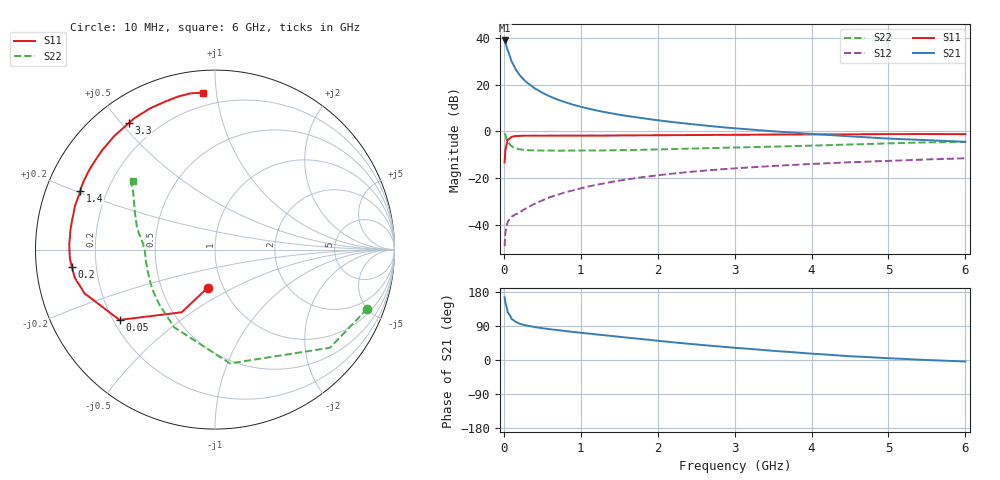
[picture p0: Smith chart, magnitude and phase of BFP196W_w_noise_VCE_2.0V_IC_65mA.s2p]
! (c) 2017  Infineon Technologies AG, Munich
! Infineon Technologies  Discrete & RF Semiconductors
! BFP196W
! VCE =  2.0 V,  IC =  65 mA
! Common Emitter S-Parameters:  Jan 2017
# GHz  S  MA  R  50
!  f  S11  S21  S12  S22
! GHz  MAG  ANG  MAG  ANG  MAG  ANG  MAG  ANG
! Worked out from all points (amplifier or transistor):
!   77 points, 10 MHz to 6 GHz, reference 50 ohm
!   highest |S21| = 39.0 dB at 10 MHz (marker M1)
!   |S21| within 3 dB of that: start of sweep to 38.81 MHz
!   unconditionally stable (mu >= 1): 537.7 MHz to 3.385 GHz
!   at 130 MHz: K = 0.52, MSG = 32.1 dB, |S12| = -35.9 dB
!   at 2.2 GHz: K = 1.04, MAG = 9.8 dB, |S12| = -18.0 dB
!   at 6 GHz: K = 0.97, MSG = 3.5 dB, |S12| = -11.5 dB
!   lowest NFmin = 1.51 dB at 450 MHz
!   S11 on the Smith chart (normalised r, x): 10 MHz: 0.84, -0.38; 50 MHz: 0.23, -0.31; 200 MHz: 0.11, -0.06; 1.4 GHz: 0.10, +0.21; 3.3 GHz: 0.10, +0.52; 6 GHz: 0.12, +0.92
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0.01  0.2171 -101.0  88.79 165.5  0.0035 76.1  0.9106 -21.2
0.02  0.3955 -118.0  81.19 151.4  0.0068 66.7  0.842 -40.5
0.05  0.6606 -143.6  54.52 125.6  0.0116 45.7  0.6396 -82.5
0.1  0.7671 -161.5  31.7 108.3  0.015 42.1  0.4887 -117.8
0.15  0.7972 -168.8  21.88 101.0  0.0167 42.7  0.4357 -135.5
0.2  0.8034 -173.1  16.57 96.3  0.0181 48.4  0.4161 -145.5
0.25  0.8097 -176.2  13.31 93.1  0.0208 50.4  0.4051 -152.3
0.3  0.8103 -178.5  11.12 90.8  0.0231 53.8  0.3986 -156.9
0.4  0.8127 177.9  8.391 86.9  0.0282 59.5  0.3931 -163.1
0.5  0.8111 175.0  6.719 83.9  0.0334 61.9  0.3903 -167.1
0.6  0.8129 172.6  5.613 81.2  0.0392 62.6  0.3906 -170.0
0.7  0.8125 170.5  4.808 78.9  0.0441 65.0  0.3886 -172.1
0.9  0.8127 166.0  3.74 74.1  0.0548 64.9  0.3894 -175.4
1.1  0.8172 162.0  3.083 69.8  0.0664 65.0  0.3912 -178.0
1.4  0.8186 156.4  2.444 63.4  0.0831 63.8  0.3952 178.5
1.7  0.8257 150.7  2.032 57.1  0.0994 61.4  0.4023 175.4
2.1  0.8315 143.5  1.66 48.8  0.1203 57.7  0.416 171.6
3.1  0.8482 127.4  1.136 30.8  0.166 47.8  0.4574 162.6
3.3  0.8525 124.4  1.071 27.6  0.174 46.0  0.4649 160.7
4.1  0.8663 113.3  0.866 15.5  0.2049 38.7  0.5027 153.1
5.1  0.8774 102.6  0.693 3.8  0.2378 30.4  0.5611 144.5
6  0.877 94.3  0.601 -4.0  0.2667 23.3  0.5968 140.1
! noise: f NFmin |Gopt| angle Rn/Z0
0.45  1.51  0.53  -175  0.06
0.9  1.64  0.57  -170  0.07
1.9  2.49  0.7  -148  0.18
2.4  2.88  0.74  -144  0.28
